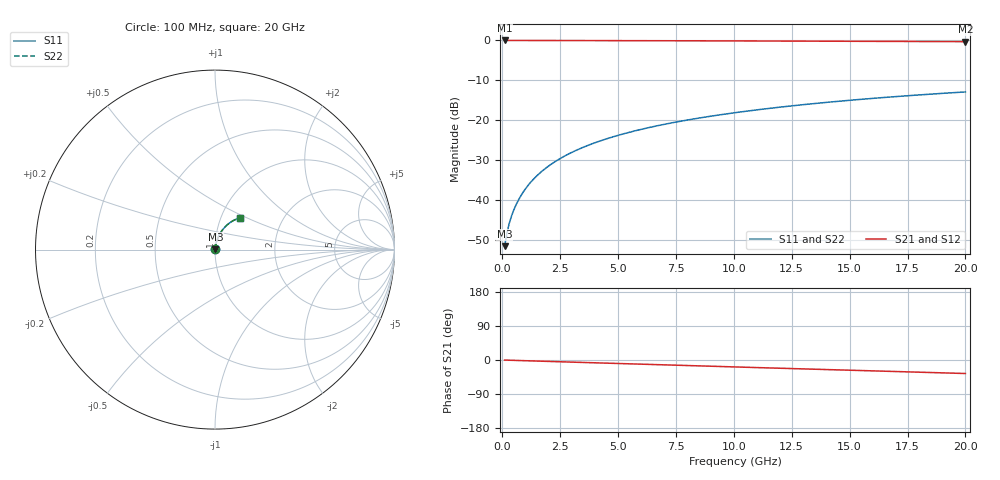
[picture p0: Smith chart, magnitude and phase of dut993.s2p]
! Touchstone file exported from HFSS 2026.1.0
!  File:  C:/ffzhzh/LocalFiles/Ansys_Project_Files/temp_train_TMRDL_993_1783159397_22436.aedt
!  Generated:  06:04:31 PM Jul  4, 2026
!  Design:  TMRDL
!  Project:  temp_train_TMRDL_993_1783159397_22436
! Variables:
!  h_bsmrdl = 2um
!  h_ox = 20um
!  h_rdl = 5um
!  h_sub = 80um
!  h_tmrdl = 3.81um
!  h_tsv = 80um
!  h_via = 3um
!  l_bsmrdl = 300um
!  l_sub = 965.56um
!  l_tmrdl = 565.56um
!  m_sub = 200um
!  pitch = 45.18um
!  r_tsv = 6um
!  s_tmrdl = 10um
!  w_bsmrdl = 18um
!  w_sub = 500um
!  w_tmrdl = 29.27um
!  x_tsv_center1 = 580.195um
!  x_tsv_center2 = 898.195um
!  x_tsv_center3 = 1493.025um
!  x_tsv_center4 = 1811.025um
!  x_tsv_center5 = 2405.855um
!  x_tsv_center6 = 2723.855um
# GHz S MA R 50.000000
! Terminal data exported
! Port[1] = TM_RDL1_1_T1
! Port[2] = TM_RDL1_1_T2
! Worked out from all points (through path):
!   200 points, 100 MHz to 20 GHz, reference 50 ohm
!   highest |S21| = -0.02 dB at 100 MHz (marker M1); lowest = -0.3 dB at 20 GHz (marker M2)
!   group delay of S21, straight-line fit = 4.94 ps
!   lowest |S11| = -51.6 dB at 100 MHz (marker M3), VSWR 1.01, Z = 50.2 + j0.16 ohm
!   |S11| at or under -10 dB: start of sweep to end of sweep
!   |S22| runs from -51.6 to -12.9 dB; largest |S21 - S12| = 5e-15
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0.1  0.002618 37.4  0.9979 -0.2  0.9979 -0.2  0.002618 37.4
! Gamma 0 0 0 0
! Port Impedance 50 0 50 0
0.2  0.003817 53.1  0.9977 -0.4  0.9977 -0.4  0.003817 53.1
0.3  0.005059 60.4  0.9975 -0.6  0.9975 -0.6  0.005059 60.4
0.4  0.006281 64.8  0.9974 -0.8  0.9974 -0.8  0.006281 64.8
0.5  0.007498 67.9  0.9973 -1.0  0.9973 -1.0  0.007498 67.9
0.6  0.008722 70.3  0.9972 -1.1  0.9972 -1.1  0.008722 70.3
0.8  0.0112 73.6  0.9971 -1.5  0.9971 -1.5  0.0112 73.6
1.1  0.01498 76.4  0.9969 -2.1  0.9969 -2.1  0.01498 76.4
1.3  0.01753 77.5  0.9968 -2.4  0.9968 -2.4  0.01753 77.5
1.6  0.02138 78.5  0.9967 -3.0  0.9967 -3.0  0.02138 78.5
2.1  0.0278 79.2  0.9963 -3.9  0.9963 -3.9  0.0278 79.2
2.7  0.03548 79.1  0.9958 -5.0  0.9958 -5.0  0.03548 79.1
3.5  0.04564 78.5  0.995 -6.5  0.995 -6.5  0.04564 78.5
4.2  0.05443 77.6  0.9941 -7.8  0.9941 -7.8  0.05443 77.6
5  0.06435 76.4  0.9931 -9.2  0.9931 -9.2  0.06435 76.4
5.9  0.07533 75.0  0.9918 -10.9  0.9918 -10.9  0.07533 75.0
6.8  0.08614 73.6  0.9904 -12.5  0.9904 -12.5  0.08614 73.6
8.3  0.1038 71.1  0.988 -15.2  0.988 -15.2  0.1038 71.1
10.1  0.1244 68.2  0.9848 -18.4  0.9848 -18.4  0.1244 68.2
13.4  0.1605 62.7  0.9784 -24.2  0.9784 -24.2  0.1605 62.7
16.7  0.1943 57.3  0.9715 -30.0  0.9715 -30.0  0.1943 57.3
20  0.2255 51.8  0.9641 -35.6  0.9641 -35.6  0.2255 51.8
